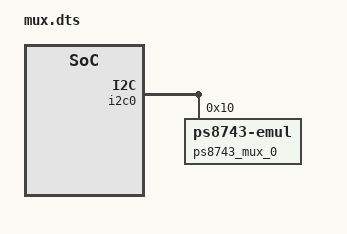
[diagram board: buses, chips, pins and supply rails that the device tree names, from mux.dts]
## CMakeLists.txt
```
# Copyright 2023 The ChromiumOS Authors
# Use of this source code is governed by a BSD-style license that can be
# found in the LICENSE file.

# Add source files
target_sources(app PRIVATE src/ps8743.c)
```

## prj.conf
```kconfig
# Copyright 2023 The ChromiumOS Authors
# Use of this source code is governed by a BSD-style license that can be
# found in the LICENSE file.
#
```

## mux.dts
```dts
/* Copyright 2023 The ChromiumOS Authors
 * Use of this source code is governed by a BSD-style license that can be
 * found in the LICENSE file.
 */

/ {
	usbc {
		port0@0 {
			usb-mux-chain-0 {
				usb-muxes = <&ps8743_mux_0>;
			};
		};
	};
};

&i2c0 {
	ps8743_mux_0: ps8743-mux-0@10 {
		compatible = "zephyr,ps8743-emul";
		reg = <0x10>;
	};
};
```

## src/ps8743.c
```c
/* Copyright 2023 The ChromiumOS Authors
 * Use of this source code is governed by a BSD-style license that can be
 * found in the LICENSE file.
 */

#include "driver/usb_mux/ps8743.h"
#include "emul/emul_common_i2c.h"
#include "emul/emul_ps8743.h"
#include "hooks.h"
#include "test/drivers/stubs.h"
#include "test/drivers/test_state.h"
#include "usb_mux.h"
#include "usbc/ps8743_usb_mux.h"
#include "usbc/usb_muxes.h"

#include <zephyr/drivers/emul.h>
#include <zephyr/ztest.h>
#include <zephyr/ztest_assert.h>

#define PS8743_NODE DT_NODELABEL(ps8743_mux_0)
static const struct emul *emul = EMUL_DT_GET(PS8743_NODE);
static const struct usb_mux *mux;

struct ps8743_fixture {
	struct i2c_common_emul_data *common;
};

static void ps8743_before(void *state)
{
	struct ps8743_fixture *f = state;

	ps8743_emul_reset_regs(emul);
	i2c_common_emul_set_read_fail_reg(f->common,
					  I2C_COMMON_EMUL_NO_FAIL_REG);
	i2c_common_emul_set_write_fail_reg(f->common,
					   I2C_COMMON_EMUL_NO_FAIL_REG);
}

static void *ps8743_setup(void)
{
	static struct ps8743_fixture fix;
	const struct usb_mux_chain *chain = &usb_muxes[0];

	fix.common = ps8743_get_i2c_common_data(emul);

	while (chain) {
		if (chain->mux->driver == &ps8743_usb_mux_driver) {
			mux = chain->mux;
			break;
		}
		chain = chain->next;
	}

	__ASSERT(mux != NULL, "mux not found");
	__ASSERT(mux->driver == &ps8743_usb_mux_driver, "driver not found");

	return &fix;
}

ZTEST_F(ps8743, test_mux_config)
{
	zassert_equal(mux->driver, &ps8743_usb_mux_driver);
}

ZTEST_F(ps8743, test_init)
{
	zassert_ok(mux->driver->init(mux));

	zassert_equal(ps8743_emul_peek_reg(emul, PS8743_REG_MODE),
		      PS8743_MODE_POWER_DOWN);

	ps8743_emul_reset_regs(emul);

	i2c_common_emul_set_write_fail_reg(fixture->common, PS8743_REG_MODE);
	zassert_ok(!mux->driver->init(mux));
	i2c_common_emul_set_write_fail_reg(fixture->common,
					   I2C_COMMON_EMUL_NO_FAIL_REG);

	i2c_common_emul_set_read_fail_reg(fixture->common,
					  PS8743_REG_REVISION_ID1);
	zassert_ok(!mux->driver->init(mux));
	i2c_common_emul_set_write_fail_reg(fixture->common,
					   I2C_COMMON_EMUL_NO_FAIL_REG);

	i2c_common_emul_set_read_fail_reg(fixture->common,
					  PS8743_REG_REVISION_ID2);
	zassert_ok(!mux->driver->init(mux));
	i2c_common_emul_set_read_fail_reg(fixture->common,
					  I2C_COMMON_EMUL_NO_FAIL_REG);

	i2c_common_emul_set_read_fail_reg(fixture->common, PS8743_REG_CHIP_ID1);
	zassert_ok(!mux->driver->init(mux));
	i2c_common_emul_set_read_fail_reg(fixture->common,
					  I2C_COMMON_EMUL_NO_FAIL_REG);

	i2c_common_emul_set_read_fail_reg(fixture->common, PS8743_REG_CHIP_ID2);
	zassert_ok(!mux->driver->init(mux));
	i2c_common_emul_set_read_fail_reg(fixture->common,
					  I2C_COMMON_EMUL_NO_FAIL_REG);
}

ZTEST_F(ps8743, test_set_mux)
{
	bool ack;
	const uint32_t default_val =
		(PS8743_MODE_IN_HPD_CONTROL | PS8743_MODE_DP_REG_CONTROL |
		 PS8743_MODE_USB_REG_CONTROL | PS8743_MODE_FLIP_REG_CONTROL);

	i2c_common_emul_set_write_fail_reg(fixture->common,
					   I2C_COMMON_EMUL_NO_FAIL_REG);
	zassert_ok(mux->driver->init(mux));

	/* NONE */
	zassert_ok(mux->driver->set(mux, USB_PD_MUX_NONE, &ack));
	zassert_equal(ps8743_emul_peek_reg(emul, PS8743_REG_MODE), default_val);

	i2c_common_emul_set_write_fail_reg(fixture->common,
					   I2C_COMMON_EMUL_NO_FAIL_REG);

	/* SAFE */
	zassert_ok(mux->driver->set(mux, USB_PD_MUX_SAFE_MODE, &ack));
	zassert_equal(ps8743_emul_peek_reg(emul, PS8743_REG_MODE), default_val);

	/* SAFE */
	zassert_ok(mux->driver->set(mux,
				    USB_PD_MUX_USB_ENABLED |
					    USB_PD_MUX_DP_ENABLED |
					    USB_PD_MUX_POLARITY_INVERTED,
				    &ack));

	/* SAFE, USB, POLARITY, DP */
	zassert_equal(
		ps8743_emul_peek_reg(emul, PS8743_REG_MODE),
		default_val | PS8743_MODE_USB_ENABLE | PS8743_MODE_DP_ENABLE |
			PS8743_MODE_IN_HPD_ASSERT | PS8743_MODE_FLIP_ENABLE);

	/* Write fail */
	i2c_common_emul_set_write_fail_reg(fixture->common, PS8743_REG_MODE);
	zassert_ok(!mux->driver->set(mux, USB_PD_MUX_NONE, &ack));
	i2c_common_emul_set_write_fail_reg(fixture->common,
					   I2C_COMMON_EMUL_NO_FAIL_REG);
}

ZTEST_F(ps8743, test_get_mux)
{
	mux_state_t state = USB_PD_MUX_NONE;

	i2c_common_emul_set_write_fail_reg(fixture->common,
					   I2C_COMMON_EMUL_NO_FAIL_REG);
	zassert_ok(mux->driver->init(mux));

	/* NONE */
	zassert_ok(mux->driver->get(mux, &state));
	zassert_equal(state, USB_PD_MUX_NONE);

	/* USB, DP, POLARITY */
	ps8743_emul_set_reg(emul, PS8743_REG_STATUS,
			    PS8743_STATUS_USB_ENABLED |
				    PS8743_STATUS_DP_ENABLED |
				    PS8743_STATUS_POLARITY_INVERTED);
	zassert_ok(mux->driver->get(mux, &state));
	zassert_equal(state, USB_PD_MUX_USB_ENABLED | USB_PD_MUX_DP_ENABLED |
				     USB_PD_MUX_POLARITY_INVERTED);

	/* Read fail */
	i2c_common_emul_set_read_fail_reg(fixture->common, PS8743_REG_STATUS);
	zassert_ok(!mux->driver->get(mux, &state));
	i2c_common_emul_set_read_fail_reg(fixture->common,
					  I2C_COMMON_EMUL_NO_FAIL_REG);
}

ZTEST_F(ps8743, test_check_chip_id)
{
	int val = 0;

	zassert_ok(ps8743_check_chip_id(mux, &val));
	zassert_equal(val, 0x8741);

	/* fail read*/
	i2c_common_emul_set_read_fail_reg(fixture->common, PS8743_REG_CHIP_ID2);
	zassert_ok(!ps8743_check_chip_id(mux, &val));
	i2c_common_emul_set_read_fail_reg(fixture->common,
					  I2C_COMMON_EMUL_NO_FAIL_REG);

	i2c_common_emul_set_read_fail_reg(fixture->common, PS8743_REG_CHIP_ID1);
	zassert_ok(!ps8743_check_chip_id(mux, &val));
	i2c_common_emul_set_read_fail_reg(fixture->common,
					  I2C_COMMON_EMUL_NO_FAIL_REG);
}

ZTEST_F(ps8743, test_suspend_resume)
{
	/* set USB only mode */
	ps8743_emul_set_reg(emul, PS8743_MISC_HPD_DP_USB_FLIP,
			    PS8743_USB_MODE_STATUS);
	ps8743_emul_set_reg(emul, PS8743_REG_MODE, PS8743_MODE_USB_ENABLE);
	ps8743_emul_set_reg(emul, PS8743_MISC_DCI_SS_MODES,
			    PS8743_SSTX_SUSPEND_MODE);

	k_sleep(K_SECONDS(1));
	hook_notify(HOOK_CHIPSET_SUSPEND);

	k_sleep(K_SECONDS(1));
	zassert_equal(ps8743_emul_peek_reg(emul, PS8743_REG_MODE), 0);

	hook_notify(HOOK_CHIPSET_RESUME_INIT);
	k_sleep(K_SECONDS(1));
	zassert_equal(ps8743_emul_peek_reg(emul, PS8743_REG_MODE),
		      PS8743_MODE_USB_ENABLE);
}

ZTEST_F(ps8743, test_tune_usb_eq)
{
	zassert_ok(ps8743_tune_usb_eq(mux, 0, 0));
}

ZTEST_SUITE(ps8743, drivers_predicate_post_main, ps8743_setup, ps8743_before,
	    NULL, NULL);
```
